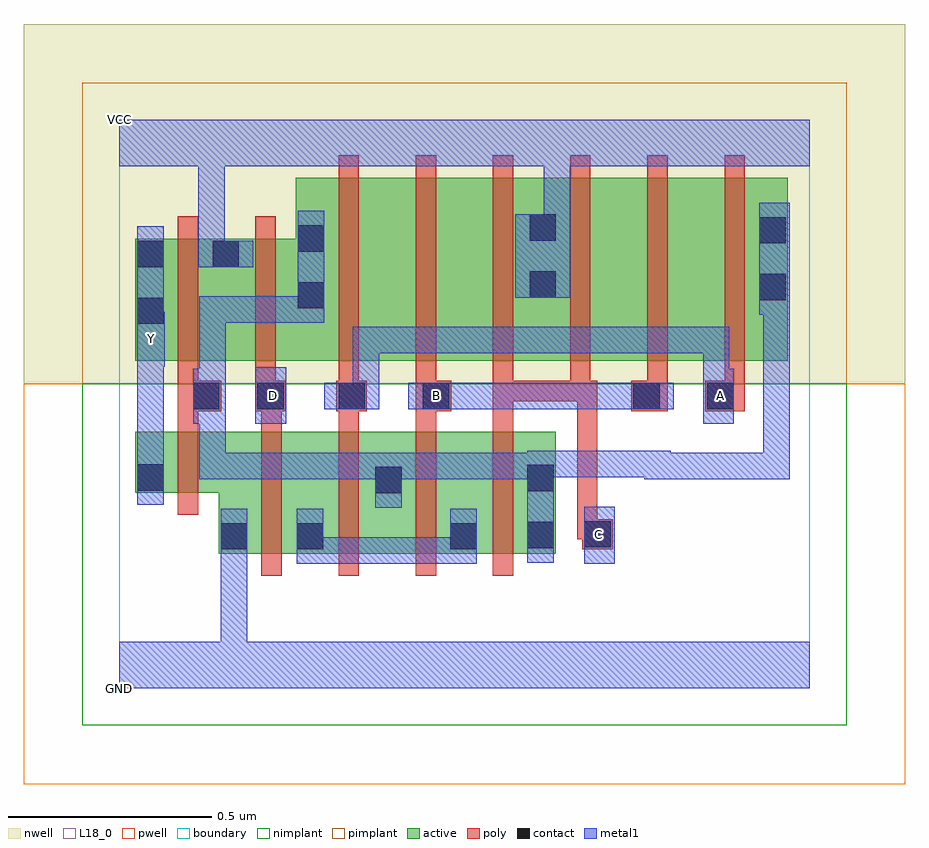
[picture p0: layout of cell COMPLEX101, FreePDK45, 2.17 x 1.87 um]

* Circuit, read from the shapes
.subckt COMPLEX101 A B C D GND VCC Y
M1 GND n1 Y VSUBS nfet w=0.15u l=0.05u
M2 n2 D GND VSUBS nfet w=0.3u l=0.05u
M3 n1 A n2 VSUBS nfet w=0.3u l=0.05u
M4 n2 B n1 VSUBS nfet w=0.3u l=0.05u
M5 n1 C n2 VSUBS nfet w=0.3u l=0.05u
M6 VCC n1 Y n3 pfet w=0.3u l=0.05u
M7 n1 D VCC n3 pfet w=0.3u l=0.05u
M8 n4 A n1 n3 pfet w=0.45u l=0.05u
M9 n5 B n4 n3 pfet w=0.45u l=0.05u
M10 VCC C n5 n3 pfet w=0.45u l=0.05u
M11 n6 C VCC n3 pfet w=0.45u l=0.05u
M12 n7 B n6 n3 pfet w=0.45u l=0.05u
M13 n1 A n7 n3 pfet w=0.45u l=0.05u
.ends

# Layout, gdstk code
import gdstk
lib = gdstk.Library(unit=1e-6, precision=1e-09)
def R(c, l, rs):  # rectangles x0, y0, x1, y1
    for r in rs: c.add(gdstk.rectangle(r[:2], r[2:], *l))
def A(c, l, x, y, w, h, nx, ny, dx, dy):  # array of equal rectangles
    R(c, l, [(x+i*dx, y+j*dy, x+i*dx+w, y+j*dy+h) for i in range(nx) for j in range(ny)])
active = (1, 0)
pwell = (2, 0)
nwell = (3, 0)
nimplant = (4, 0)
pimplant = (5, 0)
poly = (9, 0)
contact = (10, 0)
metal1 = (11, 0)
L18_0 = (18, 0)
boundary = (235, 0)

complex101 = lib.new_cell('COMPLEX101')
R(complex101, active, [(0.245,0.332,0.507,0.632), (0.245,0.332,0.32,0.632), (0.432,0.332,0.7,0.632), (0.625,0.332,0.885,0.632), (0.81,0.332,1.075,0.632), (0.432,0.337,0.507,0.547), (0.81,0.337,0.885,0.547), (1,0.34,1.075,0.632), (0.625,0.382,0.7,0.55), (0.04,0.482,0.32,0.632), (0.04,0.482,0.115,0.632), (0.04,0.807,0.3,1.107), (0.04,0.807,0.115,1.107), (0.225,0.807,0.51,1.107), (0.435,0.807,0.51,1.2), (0.435,0.807,0.66,1.257), (0.66,0.807,0.85,1.257), (0.85,0.807,1.08,1.257), (1.005,0.807,1.23,1.257), (1.23,0.807,1.42,1.257), (1.42,0.807,1.645,1.257), (1.57,0.807,1.645,1.2), (1.005,0.857,1.08,1.255), (0.225,1.007,0.3,1.107)])
R(complex101, pwell, [(-0.235,-0.235,1.935,0.75)])
R(complex101, nwell, [(-0.235,0.75,1.935,1.635)])
R(complex101, nimplant, [(-0.09,-0.09,1.79,0.75)])
R(complex101, pimplant, [(-0.09,0.75,1.79,1.49)])
A(complex101, poly, 0.35, 0.277, 0.05, 0.41, 4, 1, 0.19, 0)
A(complex101, poly, 0.35, 0.637, 0.05, 0.095, 3, 1, 0.19, 0)
A(complex101, poly, 0.54, 0.707, 0.05, 0.095, 6, 1, 0.19, 0)
A(complex101, poly, 0.54, 0.752, 0.05, 0.56, 6, 1, 0.19, 0)
R(complex101, poly, [(1.14,0.342,1.215,0.417), (1.127,0.367,1.177,0.757), (1.127,0.367,1.19,0.417), (1.14,0.367,1.19,0.417), (0.145,0.427,0.195,0.687), (0.145,0.637,0.195,0.732), (0.92,0.637,0.97,0.757), (0.145,0.682,0.252,0.757), (0.335,0.682,0.41,0.757), (0.535,0.682,0.61,0.757), (0.73,0.682,0.817,0.757), (1.26,0.682,1.35,0.757), (1.442,0.682,1.54,0.757), (0.145,0.707,0.195,0.802), (0.335,0.707,0.385,0.802), (0.92,0.707,0.97,0.757), (0.92,0.707,1.16,0.757), (1.11,0.707,1.16,0.757), (1.11,0.707,1.16,0.757), (1.11,0.707,1.177,0.757), (0.145,0.752,0.195,1.162), (0.335,0.752,0.385,1.162)])
R(complex101, contact, [(0.25,0.342,0.315,0.407), (0.437,0.342,0.502,0.407), (0.815,0.342,0.88,0.407), (1.005,0.345,1.07,0.41), (1.145,0.347,1.21,0.412), (0.63,0.48,0.695,0.545), (1.005,0.485,1.07,0.55), (0.045,0.487,0.11,0.552), (0.182,0.687,0.247,0.752), (0.34,0.687,0.405,0.752), (0.54,0.687,0.605,0.752), (0.747,0.687,0.812,0.752), (1.265,0.687,1.33,0.752), (1.447,0.687,1.512,0.752), (0.045,0.897,0.11,0.962), (0.44,0.935,0.505,1), (1.575,0.955,1.64,1.02), (1.01,0.962,1.075,1.027), (0.045,1.037,0.11,1.102), (0.23,1.037,0.295,1.102), (0.44,1.075,0.505,1.14), (1.575,1.095,1.64,1.16), (1.01,1.102,1.075,1.167)])
R(complex101, metal1, [(0,0,1.7,0.115), (0.25,0.05,0.315,0.115), (0.25,0.05,0.315,0.115), (0.25,0.05,0.315,0.115), (0.25,0.05,0.315,0.115), (0.25,0.05,0.315,0.372), (0.25,0.307,0.315,0.442), (0.437,0.307,0.64,0.372), (0.437,0.307,0.502,0.442), (0.575,0.307,0.64,0.372), (0.575,0.307,0.64,0.372), (0.575,0.307,0.64,0.372), (0.575,0.307,0.88,0.372), (0.815,0.307,0.88,0.372), (0.815,0.307,0.88,0.372), (0.815,0.307,0.88,0.442), (1.145,0.307,1.22,0.447), (1.005,0.31,1.07,0.585), (0.63,0.445,0.695,0.58), (0.045,0.452,0.11,0.587), (0.197,0.515,0.262,0.58), (0.197,0.515,0.432,0.58), (0.197,0.515,0.262,0.717), (0.367,0.515,0.432,0.58), (0.367,0.515,0.432,0.58), (0.367,0.515,0.432,0.58), (0.367,0.515,0.64,0.58), (0.575,0.515,0.64,0.58), (0.575,0.515,0.695,0.58), (0.63,0.515,0.832,0.58), (0.767,0.515,0.832,0.58), (0.767,0.515,0.832,0.58), (0.767,0.515,0.832,0.58), (0.767,0.515,1.02,0.58), (0.955,0.515,1.02,0.58), (0.955,0.515,1.07,0.58), (1.292,0.515,1.502,0.58), (1.292,0.515,1.357,0.585), (1.437,0.515,1.502,0.58), (1.437,0.515,1.502,0.58), (1.437,0.515,1.502,0.58), (1.437,0.515,1.65,0.58), (1.585,0.515,1.65,0.985), (1.585,0.515,1.65,0.58), (1.585,0.515,1.65,0.58), (1.585,0.515,1.65,0.58), (1.005,0.52,1.157,0.585), (1.092,0.52,1.157,0.585), (1.092,0.52,1.357,0.585), (1.292,0.52,1.357,0.585), (1.292,0.52,1.357,0.585), (0.045,0.522,0.11,0.857), (0.182,0.652,0.247,0.787), (0.182,0.652,0.262,0.717), (0.197,0.652,0.262,0.717), (0.197,0.652,0.262,0.965), (0.335,0.652,0.412,0.79), (1.437,0.652,1.512,0.787), (0.505,0.687,0.64,0.752), (0.575,0.687,0.64,0.752), (0.575,0.687,0.64,0.752), (0.575,0.687,0.64,0.89), (0.712,0.687,0.847,0.752), (0.782,0.687,0.847,0.752), (0.782,0.687,0.847,0.752), (0.782,0.687,1.02,0.752), (0.955,0.687,1.02,0.752), (0.955,0.687,1.157,0.752), (1.092,0.687,1.157,0.752), (1.092,0.687,1.157,0.752), (1.092,0.687,1.157,0.752), (1.092,0.687,1.295,0.752), (1.23,0.687,1.295,0.752), (1.23,0.687,1.295,0.752), (1.23,0.687,1.365,0.752), (1.437,0.722,1.502,0.787), (1.437,0.722,1.502,0.787), (1.437,0.722,1.502,0.89), (0.045,0.792,0.112,0.927), (0.575,0.825,0.64,0.89), (0.575,0.825,0.882,0.89), (0.817,0.825,0.882,0.89), (0.817,0.825,0.882,0.89), (0.817,0.825,0.882,0.89), (0.817,0.825,1.02,0.89), (0.955,0.825,1.02,0.89), (0.955,0.825,1.157,0.89), (1.092,0.825,1.157,0.89), (1.092,0.825,1.157,0.89), (1.092,0.825,1.157,0.89), (1.092,0.825,1.295,0.89), (1.23,0.825,1.295,0.89), (1.23,0.825,1.295,0.89), (1.23,0.825,1.295,0.89), (1.23,0.825,1.502,0.89), (1.437,0.825,1.502,0.89), (0.045,0.862,0.11,0.927), (0.045,0.862,0.11,1.137), (0.197,0.9,0.262,0.965), (0.197,0.9,0.432,0.965), (0.367,0.9,0.432,0.965), (0.367,0.9,0.505,0.965), (0.44,0.9,0.505,1.175), (1.575,0.92,1.65,1.195), (0.975,0.962,1.11,1.167), (0.195,1.037,0.26,1.102), (0.195,1.037,0.26,1.102), (0.195,1.037,0.33,1.102), (0.195,1.037,0.26,1.35), (1.045,1.102,1.11,1.35), (0,1.285,1.7,1.4)])
R(complex101, L18_0, [(0,0,1.7,0.115), (0.25,0.05,0.315,0.115), (0.25,0.05,0.315,0.115), (0.25,0.05,0.315,0.115), (0.25,0.05,0.315,0.115), (0.25,0.05,0.315,0.372), (0.25,0.307,0.315,0.442), (1.145,0.307,1.22,0.447), (1.147,0.347,1.212,0.412), (0.045,0.452,0.11,0.587), (0.045,0.522,0.11,0.857), (0.335,0.652,0.412,0.79), (1.437,0.652,1.512,0.787), (0.347,0.687,0.412,0.752), (0.505,0.687,0.64,0.752), (0.575,0.687,0.64,0.752), (0.575,0.687,0.64,0.752), (0.575,0.687,0.64,0.89), (0.712,0.687,0.847,0.752), (0.747,0.687,0.812,0.752), (0.782,0.687,0.847,0.752), (0.782,0.687,0.847,0.752), (0.782,0.687,1.02,0.752), (0.955,0.687,1.02,0.752), (0.955,0.687,1.157,0.752), (1.092,0.687,1.157,0.752), (1.092,0.687,1.157,0.752), (1.092,0.687,1.157,0.752), (1.092,0.687,1.295,0.752), (1.23,0.687,1.295,0.752), (1.23,0.687,1.295,0.752), (1.23,0.687,1.365,0.752), (1.447,0.687,1.512,0.752), (1.437,0.722,1.502,0.787), (1.437,0.722,1.502,0.787), (1.437,0.722,1.502,0.89), (0.045,0.792,0.112,0.927), (0.575,0.825,0.64,0.89), (0.575,0.825,0.882,0.89), (0.817,0.825,0.882,0.89), (0.817,0.825,0.882,0.89), (0.817,0.825,0.882,0.89), (0.817,0.825,1.02,0.89), (0.955,0.825,1.02,0.89), (0.955,0.825,1.157,0.89), (1.092,0.825,1.157,0.89), (1.092,0.825,1.157,0.89), (1.092,0.825,1.157,0.89), (1.092,0.825,1.295,0.89), (1.23,0.825,1.295,0.89), (1.23,0.825,1.295,0.89), (1.23,0.825,1.295,0.89), (1.23,0.825,1.502,0.89), (1.437,0.825,1.502,0.89), (0.047,0.827,0.112,0.892), (0.045,0.862,0.11,1.137), (0.045,0.862,0.11,0.927), (0.975,0.962,1.11,1.167), (0.195,1.037,0.26,1.102), (0.195,1.037,0.26,1.102), (0.195,1.037,0.33,1.102), (0.195,1.037,0.26,1.35), (1.045,1.102,1.11,1.35), (0,1.285,1.7,1.4)])
R(complex101, boundary, [(0,0,1.7,1.4)])
complex101.add(gdstk.Label('A', (1.48,0.72), layer=11, texttype=0))
complex101.add(gdstk.Label('B', (0.78,0.72), layer=11, texttype=0))
complex101.add(gdstk.Label('C', (1.18,0.38), layer=11, texttype=0))
complex101.add(gdstk.Label('D', (0.38,0.72), layer=11, texttype=0))
complex101.add(gdstk.Label('Y', (0.08,0.86), layer=11, texttype=0))
complex101.add(gdstk.Label('VCC', (0,1.4), layer=11, texttype=0))
complex101.add(gdstk.Label('GND', (0,0), layer=11, texttype=0))

lib.write_gds('COMPLEX101.gds')
